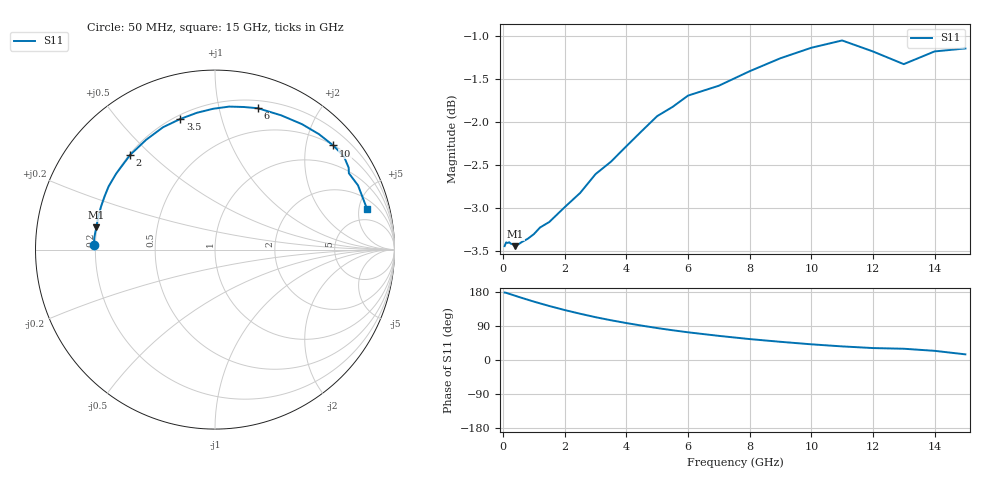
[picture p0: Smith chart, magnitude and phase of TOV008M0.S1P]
! SIEMENS Small Signal Semiconductors
! BAT15-03W
! Si Schottky Diode in SOD323
! IF = 8 mA
! S-Parameters:  May  1996
# GHz  S  MA  R  50
!  f  S11
! GHz  MAG  ANG
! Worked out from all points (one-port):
!   31 points, 50 MHz to 15 GHz, reference 50 ohm
!   lowest |S11| = -3.4 dB at 400 MHz (marker M1), VSWR 5.10, Z = 9.88 + j4.46 ohm
!   |S11| at or under -10 dB: nowhere
!   S11 on the Smith chart (normalised r, x): 50 MHz: 0.20, +0.02; 2 GHz: 0.20, +0.43; 3.5 GHz: 0.22, +0.74; 6 GHz: 0.27, +1.31; 10 GHz: 0.51, +2.56; 15 GHz: 3.12, +6.09
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0.05  0.6724 178.0
0.1  0.6757 177.3
0.2  0.6758 174.6
0.3  0.6742 172.0
0.4  0.6723 169.4
0.6  0.6759 164.1
0.8  0.679 159.1
1  0.6833 154.1
1.2  0.6894 149.4
1.5  0.6945 142.5
2  0.7085 131.8
2.5  0.7221 122.1
3  0.7407 113.0
3.5  0.7531 104.9
4  0.769 97.5
4.5  0.7848 90.7
5  0.8007 84.3
5.5  0.8107 78.5
6  0.8231 73.1
7  0.8341 63.7
8  0.8506 55.2
9  0.8655 48.0
10  0.8778 41.4
11  0.8865 35.9
12  0.8734 31.5
13  0.8587 29.7
14  0.8735 24.2
15  0.877 14.9
